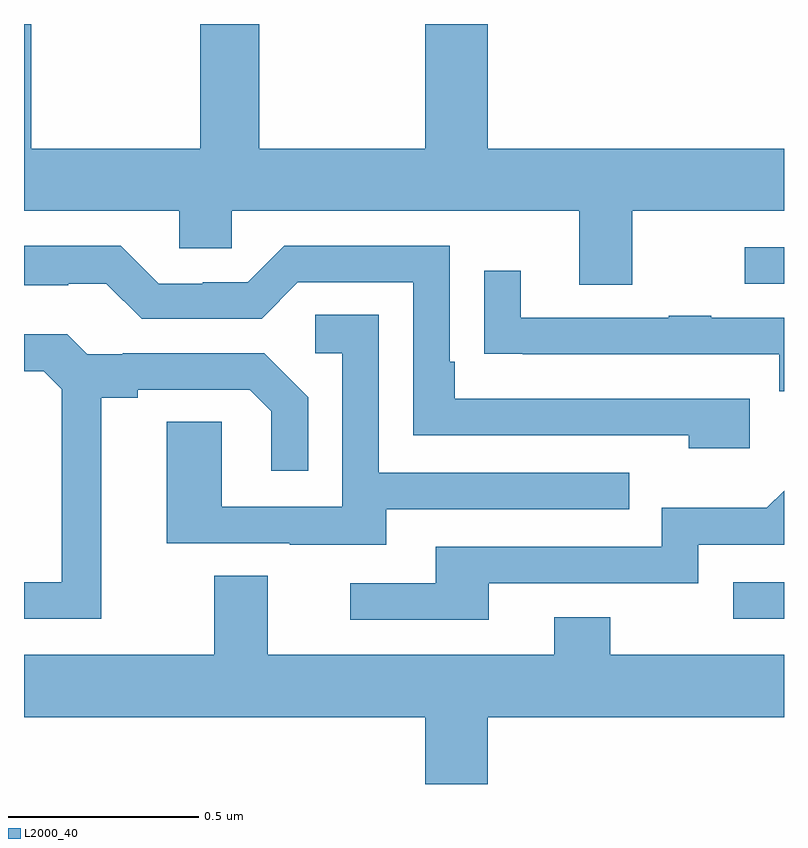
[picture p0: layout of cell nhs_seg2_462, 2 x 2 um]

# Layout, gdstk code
import gdstk
lib = gdstk.Library(unit=1e-6, precision=1e-09)
def R(c, l, rs):  # rectangles x0, y0, x1, y1
    for r in rs: c.add(gdstk.rectangle(r[:2], r[2:], *l))
def P(c, l, *ps):  # polygons
    for p in ps: c.add(gdstk.Polygon(p, *l))
L2000_40 = (2000, 40)

nhs_seg2_462 = lib.new_cell('nhs_seg2_462')
R(nhs_seg2_462, L2000_40, [(117.867,641.235,118,641.331), (117.897,642.117,118,642.213)])
P(nhs_seg2_462, L2000_40, [(117.601,642.308),(118,642.308),(118,642.472),(117.22,642.472),(117.22,642.8),(117.056,642.8),(117.056,642.472),(116.619,642.472),(116.619,642.8),(116.464,642.8),(116.464,642.472),(116.019,642.472),(116.019,642.8),(116,642.8),(116,642.308),(116.409,642.308),(116.409,642.21),(116.547,642.21),(116.547,642.308),(117.461,642.308),(117.461,642.114),(117.601,642.114)],
  [(117.91,641.814),(117.133,641.814),(117.133,641.911),(117.12,641.911),(117.12,642.216),(116.685,642.216),(116.589,642.12),(116.471,642.12),(116.471,642.117),(116.355,642.117),(116.255,642.217),(116,642.217),(116,642.113),(116.117,642.113),(116.117,642.117),(116.217,642.117),(116.31,642.024),(116.625,642.024),(116.721,642.12),(117.024,642.12),(117.024,641.718),(117.749,641.718),(117.749,641.684),(117.91,641.684)],
  [(118,642.027),(117.809,642.027),(117.809,642.032),(117.697,642.032),(117.697,642.027),(117.307,642.027),(117.307,642.151),(117.211,642.151),(117.211,641.932),(117.313,641.932),(117.313,641.931),(117.988,641.931),(117.988,641.834),(118,641.834)],
  [(116.953,641.523),(117.593,641.523),(117.593,641.619),(116.934,641.619),(116.934,642.035),(116.766,642.035),(116.766,641.934),(116.838,641.934),(116.838,641.529),(116.52,641.529),(116.52,641.753),(116.375,641.753),(116.375,641.433),(116.699,641.433),(116.699,641.429),(116.953,641.429)],
  [(116.203,641.816),(116.299,641.816),(116.299,641.838),(116.594,641.838),(116.651,641.781),(116.651,641.625),(116.748,641.625),(116.748,641.818),(116.632,641.934),(116.26,641.934),(116.26,641.931),(116.166,641.931),(116.114,641.983),(116,641.983),(116,641.886),(116.052,641.886),(116.099,641.839),(116.099,641.331),(116,641.331),(116,641.235),(116.203,641.235)],
  [(117.223,641.328),(117.774,641.328),(117.774,641.43),(118,641.43),(118,641.572),(117.955,641.527),(117.678,641.527),(117.678,641.424),(117.083,641.424),(117.083,641.328),(116.859,641.328),(116.859,641.232),(117.223,641.232)],
  [(117.22,640.976),(118,640.976),(118,641.14),(117.543,641.14),(117.543,641.239),(117.395,641.239),(117.395,641.14),(116.641,641.14),(116.641,641.348),(116.501,641.348),(116.501,641.14),(116,641.14),(116,640.976),(117.056,640.976),(117.056,640.8),(117.22,640.8)])

lib.write_gds('nhs_seg2_462.gds')
